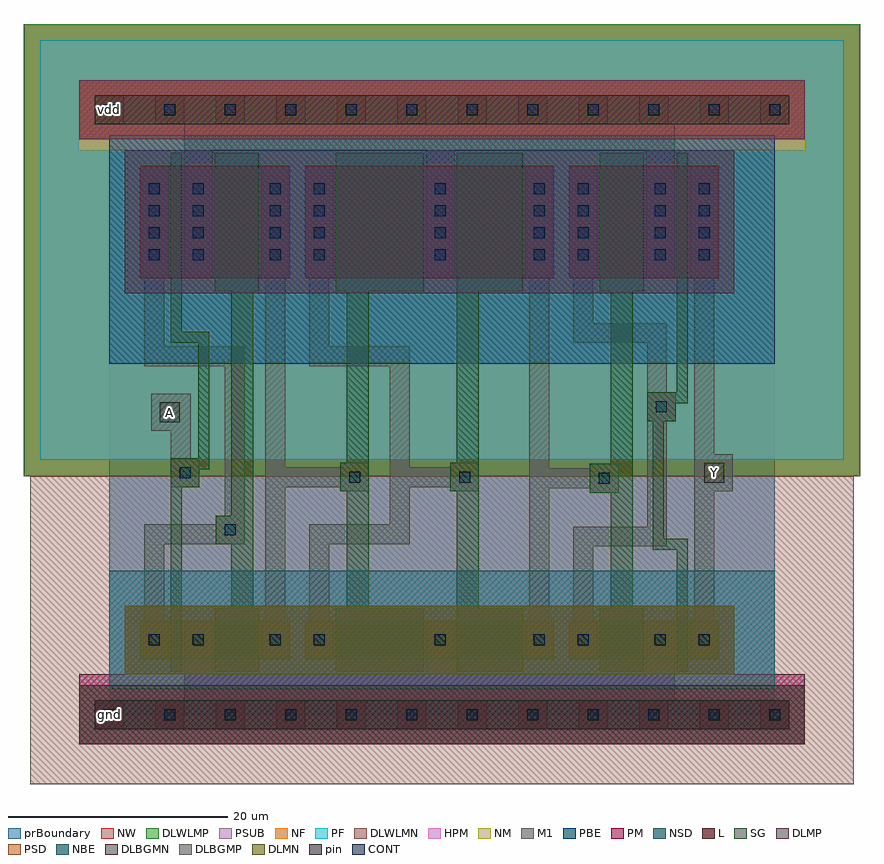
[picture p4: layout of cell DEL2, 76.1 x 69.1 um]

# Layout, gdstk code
import gdstk
lib = gdstk.Library(unit=1e-6, precision=1e-09)
def R(c, l, rs):  # rectangles x0, y0, x1, y1
    for r in rs: c.add(gdstk.rectangle(r[:2], r[2:], *l))
def A(c, l, x, y, w, h, nx, ny, dx, dy):  # array of equal rectangles
    R(c, l, [(x+i*dx, y+j*dy, x+i*dx+w, y+j*dy+h) for i in range(nx) for j in range(ny)])
def P(c, l, *ps):  # polygons
    for p in ps: c.add(gdstk.Polygon(p, *l))
L = (3, 0)
NM = (7, 0)
SG = (8, 0)
PSD = (9, 0)
CONT = (11, 0)
M1 = (13, 0)
NF = (25, 0)
PF = (26, 0)
NSD = (28, 0)
HPM = (33, 0)
PM = (35, 0)
NW = (36, 0)
pin = (48, 1)
PSUB = (140, 0)
PBE = (146, 0)
NBE = (147, 0)
DLWLMP = (150, 0)
DLWLMN = (151, 0)
DLMP = (157, 0)
DLMN = (158, 0)
DLBGMP = (177, 0)
DLBGMN = (178, 0)
prBoundary = (235, 0)

del2 = lib.new_cell('DEL2')
A(del2, L, -1.3, -1.3, 2.6, 2.6, 12, 2, 5.5, 55)
R(del2, L, [(2.8,5.1,16.4,8.5), (17.8,5.1,40.4,8.5), (41.8,5.1,55.4,8.5), (2.8,39.7,16.4,49.9), (17.8,39.7,40.4,49.9), (41.8,39.7,55.4,49.9)])
R(del2, NM, [(-2.75,-2.7,63.25,2.7)])
P(del2, NM, [(1.4,38.3),(1.4,51.3),(-2.75,51.3),(-2.75,57.7),(63.25,57.7),(63.25,51.3),(56.8,51.3),(56.8,38.3)])
P(del2, SG, [(5.6,3.9),(5.6,23.3),(8.1,23.3),(8.1,33.8),(5.6,33.8),(5.6,51.1),(6.6,51.1),(6.6,34.8),(9.1,34.8),(9.1,22.3),(8.2,22.3),(8.2,20.7),(6.6,20.7),(6.6,3.9)],
  [(9.6,3.9),(9.6,9.7),(11.1,9.7),(11.1,15.5),(9.7,15.5),(9.7,18.1),(11.1,18.1),(11.1,38.5),(9.6,38.5),(9.6,51.1),(13.6,51.1),(13.6,38.5),(13.1,38.5),(13.1,9.7),(13.6,9.7),(13.6,3.9)],
  [(20.6,3.9),(20.6,9.7),(21.6,9.7),(21.6,20.3),(21,20.3),(21,22.9),(21.6,22.9),(21.6,38.5),(20.6,38.5),(20.6,51.1),(28.6,51.1),(28.6,38.5),(23.6,38.5),(23.6,9.7),(28.6,9.7),(28.6,3.9)],
  [(31.6,3.9),(31.6,20.3),(31,20.3),(31,22.9),(31.6,22.9),(31.6,51.1),(37.6,51.1),(37.6,38.5),(33.6,38.5),(33.6,9.7),(37.6,9.7),(37.6,3.9)],
  [(44.6,3.9),(44.6,9.7),(45.6,9.7),(45.6,20.2),(43.7,20.2),(43.7,22.8),(45.6,22.8),(45.6,38.5),(44.6,38.5),(44.6,51.1),(48.6,51.1),(48.6,38.5),(47.6,38.5),(47.6,9.7),(48.6,9.7),(48.6,3.9)],
  [(51.6,3.9),(51.6,15),(49.4,15),(49.4,26.7),(48.9,26.7),(48.9,29.3),(51.6,29.3),(51.6,51.1),(52.6,51.1),(52.6,28.3),(51.5,28.3),(51.5,26.7),(50.4,26.7),(50.4,16),(52.6,16),(52.6,3.9)])
R(del2, PSD, [(1.4,3.7,56.8,9.9), (-2.75,52.3,63.25,57.7)])
A(del2, CONT, -0.5, -0.5, 1, 1, 12, 2, 5.5, 55)
A(del2, CONT, 3.6, 41.3, 1, 1, 1, 4, 0, 2)
A(del2, CONT, 14.6, 41.3, 1, 1, 1, 4, 0, 2)
A(del2, CONT, 18.6, 41.3, 1, 1, 1, 4, 0, 2)
A(del2, CONT, 38.6, 41.3, 1, 1, 1, 4, 0, 2)
A(del2, CONT, 42.6, 41.3, 1, 1, 1, 4, 0, 2)
A(del2, CONT, 53.6, 41.3, 1, 1, 1, 4, 0, 2)
R(del2, CONT, [(3.6,6.3,4.6,7.3), (7.6,6.3,8.6,7.3), (7.6,6.3,8.6,7.3), (14.6,6.3,15.6,7.3), (18.6,6.3,19.6,7.3), (29.6,6.3,30.6,7.3), (29.6,6.3,30.6,7.3), (38.6,6.3,39.6,7.3), (42.6,6.3,43.6,7.3), (49.6,6.3,50.6,7.3), (49.6,6.3,50.6,7.3), (53.6,6.3,54.6,7.3), (10.5,16.3,11.5,17.3), (44.5,21,45.5,22), (21.8,21.1,22.8,22.1), (31.8,21.1,32.8,22.1), (6.4,21.5,7.4,22.5), (49.7,27.5,50.7,28.5), (7.6,41.3,8.6,42.3), (7.6,41.3,8.6,42.3), (29.6,41.3,30.6,42.3), (29.6,41.3,30.6,42.3), (49.6,41.3,50.6,42.3), (49.6,41.3,50.6,42.3), (7.6,43.3,8.6,44.3), (7.6,43.3,8.6,44.3), (29.6,43.3,30.6,44.3), (29.6,43.3,30.6,44.3), (49.6,43.3,50.6,44.3), (49.6,43.3,50.6,44.3), (7.6,45.3,8.6,46.3), (7.6,45.3,8.6,46.3), (29.6,45.3,30.6,46.3), (29.6,45.3,30.6,46.3), (49.6,45.3,50.6,46.3), (49.6,45.3,50.6,46.3), (7.6,47.3,8.6,48.3), (7.6,47.3,8.6,48.3), (29.6,47.3,30.6,48.3), (29.6,47.3,30.6,48.3), (49.6,47.3,50.6,48.3), (49.6,47.3,50.6,48.3)])
P(del2, M1, [(-1.3,-1.3),(-1.3,1.3),(6.8,1.3),(6.8,8.5),(9.4,8.5),(9.4,3.7),(28.8,3.7),(28.8,8.5),(31.4,8.5),(31.4,3.7),(48.8,3.7),(48.8,8.5),(51.4,8.5),(51.4,1.3),(61.8,1.3),(61.8,-1.3)],
  [(5.6,20.7),(5.6,25.8),(3.8,25.8),(3.8,29.2),(7.4,29.2),(7.4,23.3),(8.2,23.3),(8.2,20.7)],
  [(2.8,5.1),(2.8,8.5),(3.2,8.5),(3.2,17.3),(9.7,17.3),(9.7,18.1),(10.5,18.1),(10.5,31.7),(3.2,31.7),(3.2,39.7),(2.8,39.7),(2.8,49.9),(5.4,49.9),(5.4,39.7),(5,39.7),(5,33.5),(12.3,33.5),(12.3,15.5),(5,15.5),(5,8.5),(5.4,8.5),(5.4,5.1)],
  [(13.8,5.1),(13.8,8.5),(14.2,8.5),(14.2,39.7),(13.8,39.7),(13.8,49.9),(16.4,49.9),(16.4,39.7),(16,39.7),(16,22.5),(21,22.5),(21,22.9),(23.6,22.9),(23.6,20.3),(21,20.3),(21,20.7),(16,20.7),(16,8.5),(16.4,8.5),(16.4,5.1)],
  [(17.8,5.1),(17.8,8.5),(18.2,8.5),(18.2,17.3),(25.5,17.3),(25.5,31.7),(18.2,31.7),(18.2,39.7),(17.8,39.7),(17.8,49.9),(20.4,49.9),(20.4,39.7),(20,39.7),(20,33.5),(27.3,33.5),(27.3,22.5),(31,22.5),(31,22.9),(33.6,22.9),(33.6,20.3),(31,20.3),(31,20.7),(27.3,20.7),(27.3,15.5),(20,15.5),(20,8.5),(20.4,8.5),(20.4,5.1)],
  [(37.8,5.1),(37.8,8.5),(38.2,8.5),(38.2,39.7),(37.8,39.7),(37.8,49.9),(40.4,49.9),(40.4,39.7),(40,39.7),(40,22.4),(43.7,22.4),(43.7,22.8),(46.3,22.8),(46.3,20.2),(43.7,20.2),(43.7,20.6),(40,20.6),(40,8.5),(40.4,8.5),(40.4,5.1)],
  [(41.8,5.1),(41.8,8.5),(42.2,8.5),(42.2,17.1),(48.9,17.1),(48.9,33.8),(42.2,33.8),(42.2,39.7),(41.8,39.7),(41.8,49.9),(44.4,49.9),(44.4,39.7),(44,39.7),(44,35.6),(50.7,35.6),(50.7,29.3),(51.5,29.3),(51.5,26.7),(50.7,26.7),(50.7,15.3),(44,15.3),(44,8.5),(44.4,8.5),(44.4,5.1)],
  [(52.8,5.1),(52.8,8.5),(53.2,8.5),(53.2,39.7),(52.8,39.7),(52.8,49.9),(55.4,49.9),(55.4,39.7),(55,39.7),(55,23.7),(56.7,23.7),(56.7,20.3),(55,20.3),(55,8.5),(55.4,8.5),(55.4,5.1)],
  [(6.8,39.7),(6.8,53.7),(-1.3,53.7),(-1.3,56.3),(61.8,56.3),(61.8,53.7),(51.4,53.7),(51.4,39.7),(48.8,39.7),(48.8,51.3),(31.4,51.3),(31.4,39.7),(28.8,39.7),(28.8,51.3),(9.4,51.3),(9.4,39.7)])
R(del2, NF, [(-6.3,23.2,66.8,61.3)])
R(del2, PF, [(-6.3,23.2,66.8,61.3)])
R(del2, NSD, [(-2.75,-2.7,63.25,2.7), (1.4,38.3,56.8,51.3)])
P(del2, HPM, [(-2.75,-2.7),(-2.75,3.7),(1.4,3.7),(1.4,9.9),(56.8,9.9),(56.8,3.7),(63.25,3.7),(63.25,-2.7)],
  [(1.4,38.3),(1.4,51.3),(-2.75,51.3),(-2.75,57.7),(63.25,57.7),(63.25,51.3),(56.8,51.3),(56.8,38.3)])
R(del2, PM, [(-2.75,52.3,63.25,57.7)])
P(del2, PM, [(-2.75,-2.7),(-2.75,3.7),(1.4,3.7),(1.4,9.9),(56.8,9.9),(56.8,3.7),(63.25,3.7),(63.25,-2.7)])
R(del2, NW, [(-7.8,21.7,68.3,62.8)])
R(del2, pin, [(-1.3,-1.3,61.8,1.3), (54.1,21.1,55.9,22.9), (4.6,26.6,6.4,28.4), (-1.3,53.7,61.8,56.3)])
P(del2, pin, [(0,55),(0,55),(0,55),(0,55)])
R(del2, PSUB, [(-6.3,23.2,66.8,61.3)])
R(del2, PBE, [(0,31.9,60.5,52.7)])
R(del2, NBE, [(0,2.3,60.5,13.1)])
R(del2, DLWLMP, [(-7.8,21.7,68.3,62.8)])
R(del2, DLWLMN, [(-7.2,-6.3,67.7,21.7)])
R(del2, DLMP, [(1.4,38.3,56.8,51.3)])
R(del2, DLMN, [(1.4,3.7,56.8,9.9)])
R(del2, DLBGMP, [(-2.75,52.3,63.25,57.7)])
R(del2, DLBGMN, [(-2.75,-2.7,63.25,2.7)])
R(del2, prBoundary, [(0,0,60.5,55)])
del2.add(gdstk.Label('Y', (55,22), layer=48, texttype=0))
del2.add(gdstk.Label('A', (5.5,27.5), layer=48, texttype=0))
del2.add(gdstk.Label('vdd', (0,55), layer=48, texttype=0))
del2.add(gdstk.Label('A', (5.5,27.5), layer=48, texttype=0))
del2.add(gdstk.Label('vdd', (0,55), layer=48, texttype=0))
del2.add(gdstk.Label('gnd', (0,0), layer=48, texttype=0))

lib.write_gds('DEL2.gds')
